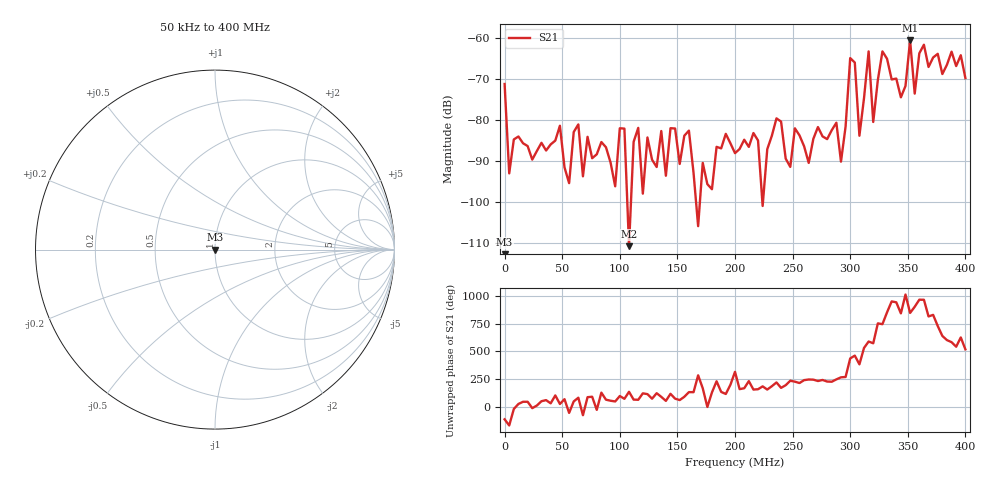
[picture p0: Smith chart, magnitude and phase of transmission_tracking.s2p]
! Created with skrf 1.8.0 (http://scikit-rf.org).
# Hz S RI R 50.0
!freq ReS11 ImS11 ReS21 ImS21 ReS12 ImS12 ReS22 ImS22
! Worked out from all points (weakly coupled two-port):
!   101 points, 50 kHz to 400 MHz, reference 50 ohm
!   highest |S21| = -60.72 dB at 352 MHz (marker M1); lowest = -110.7 dB at 108 MHz (marker M2)
!   lowest |S11| = - dB at 50 kHz (marker M3), VSWR 1.00, Z = 50 + j0 ohm
!   |S11| at or under -10 dB: start of sweep to end of sweep
!   S12 and S22 are empty: the file has one direction only
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50000  0 0  -0.000114 -0.000248  0 0  0 0
4049500  0 0  -2.21e-05 -3.82e-06  0 0  0 0
6.80415e7  0 0  4.42e-06 -2.02e-05  0 0  0 0
1.080365e8  0 0  -2.04e-06 2.1e-06  0 0  0 0
1.36033e8  0 0  1.83e-06 7.32e-05  0 0  0 0
2.00025e8  0 0  2.78e-05 -2.8e-05  0 0  0 0
2.680165e8  0 0  -2.58e-05 -5.29e-05  0 0  0 0
2.96013e8  0 0  -2.91e-06 -8.29e-05  0 0  0 0
3.000125e8  0 0  0.000138 0.000545  0 0  0 0
3.04012e8  0 0  -9.76e-05 0.000487  0 0  0 0
3.080115e8  0 0  5.94e-05 2.44e-05  0 0  0 0
3.160105e8  0 0  -0.000447 -0.00051  0 0  0 0
3.2001e8  0 0  -7.93e-05 -5.11e-05  0 0  0 0
3.28009e8  0 0  0.000611 0.000294  0 0  0 0
3.36008e8  0 0  -0.000194 -0.000242  0 0  0 0
3.44007e8  0 0  -0.000103 0.000157  0 0  0 0
3.52006e8  0 0  -0.000559 0.000732  0 0  0 0
3.560055e8  0 0  -0.000208 -1.05e-05  0 0  0 0
3.640045e8  0 0  -0.000328 -0.000748  0 0  0 0
3.800025e8  0 0  5.76e-05 -0.000355  0 0  0 0
3.960005e8  0 0  -4.64e-05 -0.000608  0 0  0 0
4e8  0 0  -0.000298 0.00012  0 0  0 0
